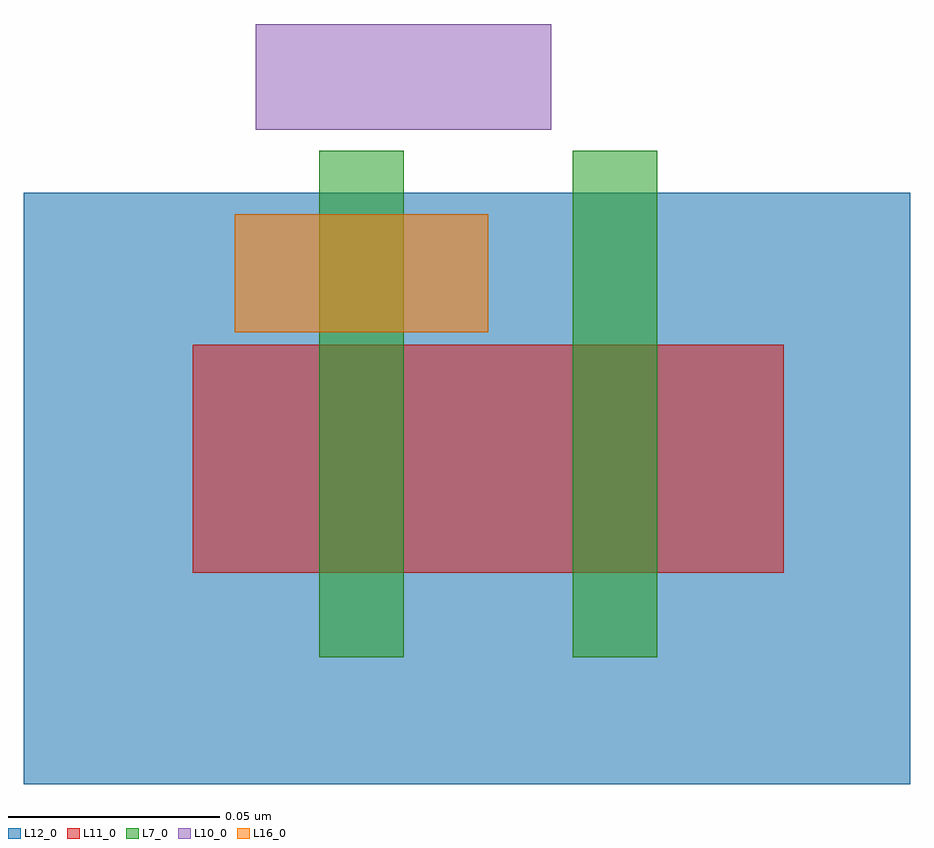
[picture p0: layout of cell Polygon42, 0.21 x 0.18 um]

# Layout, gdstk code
import gdstk
lib = gdstk.Library(unit=1e-6, precision=2.5e-10)
def R(c, l, rs):  # rectangles x0, y0, x1, y1
    for r in rs: c.add(gdstk.rectangle(r[:2], r[2:], *l))
L7_0 = (7, 0)
L10_0 = (10, 0)
L11_0 = (11, 0)
L12_0 = (12, 0)
L16_0 = (16, 0)

polygon42 = lib.new_cell('Polygon42')
R(polygon42, L7_0, [(0.04,-0.02,0.06,0.1), (0.1,-0.02,0.12,0.1)])
R(polygon42, L10_0, [(0.025,0.105,0.095,0.13)])
R(polygon42, L11_0, [(0.01,0,0.15,0.054)])
R(polygon42, L12_0, [(-0.03,-0.05,0.18,0.09)])
R(polygon42, L16_0, [(0.02,0.057,0.08,0.085)])

lib.write_gds('Polygon42.gds')
